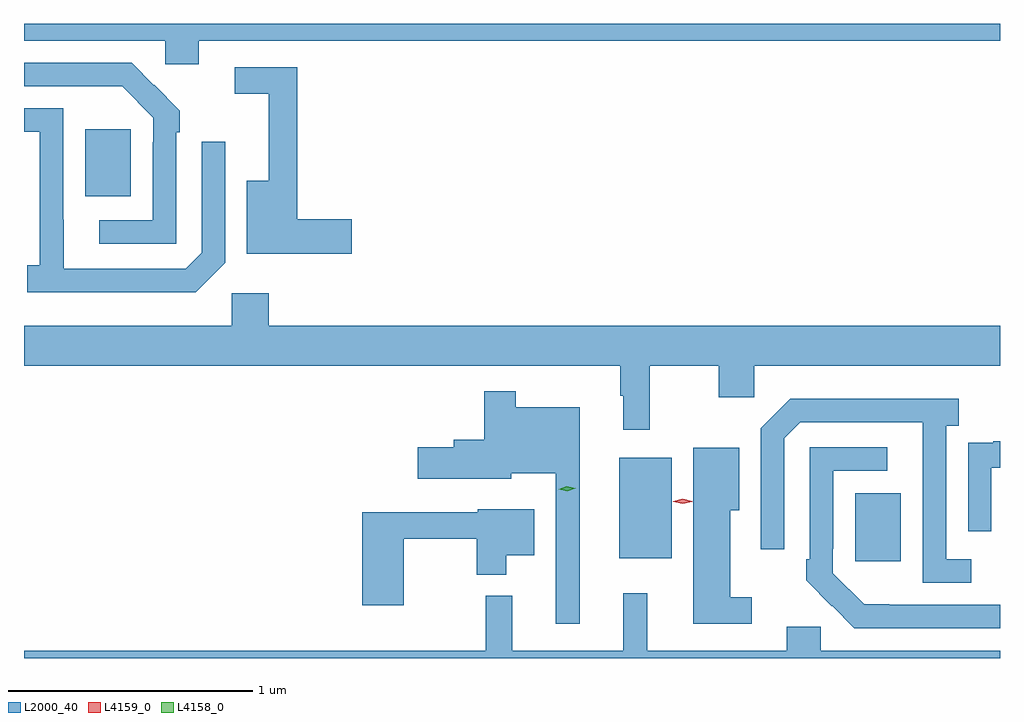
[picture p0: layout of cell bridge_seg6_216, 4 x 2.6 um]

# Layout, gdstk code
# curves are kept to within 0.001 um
import gdstk
lib = gdstk.Library(unit=1e-6, precision=1e-09)
def R(c, l, rs):  # rectangles x0, y0, x1, y1
    for r in rs: c.add(gdstk.rectangle(r[:2], r[2:], *l))
def P(c, l, *ps):  # polygons
    for p in ps: c.add(gdstk.Polygon(p, *l))
L2000_40 = (2000, 40)
L4158_0 = (4158, 0)
L4159_0 = (4159, 0)

bridge_seg6_216 = lib.new_cell('bridge_seg6_216')
R(bridge_seg6_216, L2000_40, [(127.613,915.897,127.801,916.177), (126.647,915.911,126.862,916.321), (124.457,917.393,124.645,917.668)])
P(bridge_seg6_216, L2000_40, [(124.924,918.032),(128.207,918.032),(128.207,918.101),(124.207,918.101),(124.207,918.032),(124.785,918.032),(124.785,917.934),(124.924,917.934)],
  [(124.83,917.657),(124.845,917.657),(124.845,917.745),(124.648,917.94),(124.207,917.94),(124.207,917.844),(124.609,917.844),(124.737,917.715),(124.737,917.615),(124.734,917.615),(124.734,917.295),(124.515,917.295),(124.515,917.199),(124.83,917.199)],
  [(125.551,917.3),(125.327,917.3),(125.327,917.922),(125.07,917.922),(125.07,917.814),(125.21,917.814),(125.21,917.458),(125.12,917.458),(125.12,917.158),(125.551,917.158)],
  [(125.031,917.121),(125.031,917.617),(124.935,917.617),(124.935,917.163),(124.869,917.097),(124.369,917.097),(124.368,917.754),(124.207,917.754),(124.207,917.658),(124.272,917.658),(124.272,917.11),(124.221,917.11),(124.221,917),(124.91,917)],
  [(126.772,916.7),(127.054,916.7),(127.054,916.569),(127.2,916.569),(127.2,916.7),(128.207,916.7),(128.207,916.864),(125.21,916.864),(125.21,916.996),(125.058,916.996),(125.058,916.864),(124.207,916.864),(124.207,916.7),(126.651,916.7),(126.651,916.577),(126.662,916.577),(126.662,916.437),(126.772,916.437)],
  [(126.484,916.528),(126.223,916.528),(126.223,916.594),(126.094,916.594),(126.094,916.395),(125.969,916.395),(125.969,916.365),(125.82,916.365),(125.82,916.235),(126.204,916.235),(126.204,916.259),(126.387,916.259),(126.387,915.642),(126.484,915.642)],
  [(128.089,915.906),(127.986,915.906),(127.986,916.454),(128.038,916.454),(128.038,916.564),(127.348,916.564),(127.227,916.443),(127.227,915.948),(127.323,915.948),(127.323,916.401),(127.389,916.467),(127.89,916.467),(127.89,915.81),(128.089,915.81)],
  [(128.172,916.281),(128.207,916.281),(128.207,916.39),(128.179,916.39),(128.179,916.383),(128.077,916.383),(128.077,916.274),(128.076,916.274),(128.076,916.02),(128.172,916.02)],
  [(128.207,915.72),(127.65,915.721),(127.521,915.849),(127.521,915.949),(127.524,915.949),(127.524,916.269),(127.744,916.269),(127.744,916.365),(127.428,916.365),(127.428,915.907),(127.413,915.907),(127.413,915.819),(127.61,915.624),(128.207,915.624)],
  [(127.189,915.751),(127.102,915.751),(127.102,916.106),(127.138,916.106),(127.138,916.363),(126.95,916.363),(126.95,915.642),(127.189,915.642)],
  [(125.764,915.99),(126.062,915.99),(126.062,915.842),(126.184,915.842),(126.184,915.923),(126.298,915.923),(126.298,916.111),(126.066,916.111),(126.066,916.099),(125.594,916.099),(125.594,915.717),(125.764,915.717)],
  [(128.207,915.532),(127.473,915.532),(127.473,915.63),(127.334,915.63),(127.334,915.532),(126.761,915.532),(126.761,915.766),(126.662,915.766),(126.662,915.532),(126.209,915.532),(126.209,915.757),(126.099,915.757),(126.099,915.532),(124.207,915.532),(124.207,915.5),(128.207,915.5)])
P(bridge_seg6_216, L4158_0, [(126.434,916.185),(126.398,916.193),(126.397,916.193),(126.398,916.193),(126.432,916.205),(126.468,916.198),(126.469,916.197),(126.468,916.197)])
P(bridge_seg6_216, L4159_0, [(126.907,916.133),(126.868,916.142),(126.868,916.142),(126.868,916.143),(126.906,916.153),(126.945,916.143),(126.946,916.143),(126.945,916.142)])

lib.write_gds('bridge_seg6_216.gds')
